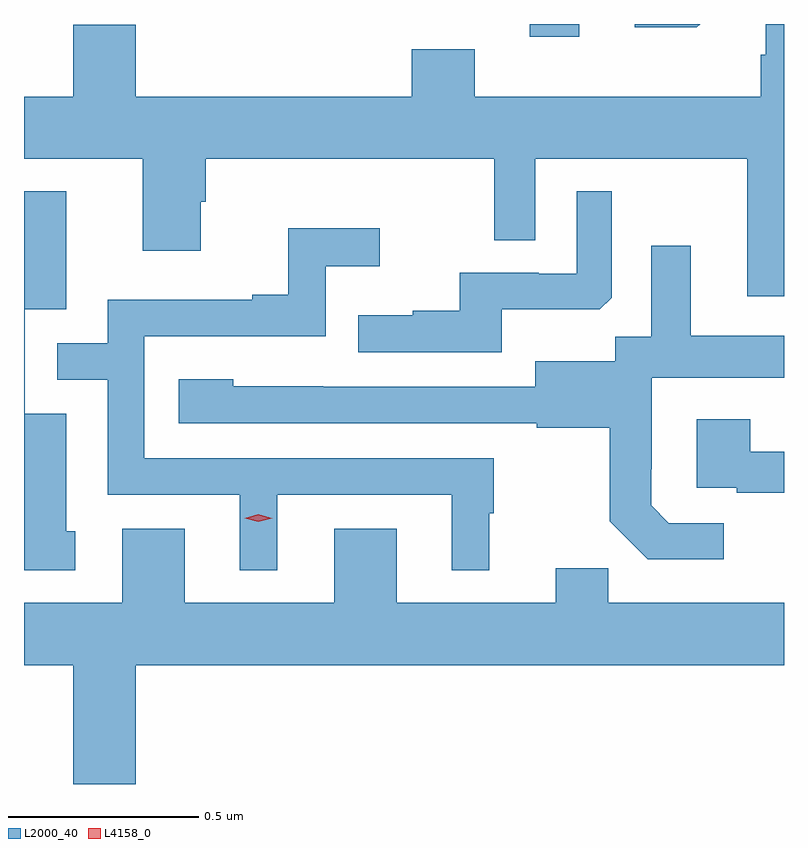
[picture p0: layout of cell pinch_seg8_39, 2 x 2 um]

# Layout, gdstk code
import gdstk
lib = gdstk.Library(unit=1e-6, precision=1e-09)
def R(c, l, rs):  # rectangles x0, y0, x1, y1
    for r in rs: c.add(gdstk.rectangle(r[:2], r[2:], *l))
def P(c, l, *ps):  # polygons
    for p in ps: c.add(gdstk.Polygon(p, *l))
L2000_40 = (2000, 40)
L4158_0 = (4158, 0)

pinch_seg8_39 = lib.new_cell('pinch_seg8_39')
R(pinch_seg8_39, L2000_40, [(921.453,1136.802,921.583,1136.835)])
P(pinch_seg8_39, L2000_40, [(921.902,1136.835),(921.729,1136.835),(921.729,1136.826),(921.893,1136.826)],
  [(922.122,1136.835),(922.074,1136.835),(922.074,1136.754),(922.061,1136.754),(922.061,1136.644),(921.308,1136.644),(921.308,1136.768),(921.143,1136.768),(921.143,1136.644),(920.416,1136.644),(920.416,1136.833),(920.252,1136.833),(920.252,1136.644),(920.122,1136.644),(920.122,1136.48),(920.435,1136.48),(920.435,1136.238),(920.587,1136.238),(920.587,1136.367),(920.6,1136.367),(920.6,1136.48),(921.36,1136.48),(921.36,1136.266),(921.468,1136.266),(921.468,1136.48),(922.025,1136.48),(922.025,1136.118),(922.122,1136.118)],
  [(920.257,1135.5),(920.233,1135.5),(920.233,1135.809),(920.124,1135.809),(920.124,1136.085),(920.233,1136.085),(920.233,1136.395),(920.122,1136.395),(920.122,1135.398),(920.257,1135.398)],
  [(921.379,1136.084),(921.637,1136.084),(921.669,1136.115),(921.669,1136.395),(921.576,1136.395),(921.576,1136.178),(921.476,1136.178),(921.476,1136.181),(921.269,1136.181),(921.269,1136.08),(921.145,1136.08),(921.145,1136.068),(921.001,1136.068),(921.001,1135.971),(921.379,1135.971)],
  [(920.788,1135.596),(921.248,1135.596),(921.248,1135.397),(921.346,1135.397),(921.346,1135.548),(921.358,1135.548),(921.358,1135.692),(920.439,1135.692),(920.439,1136.013),(920.916,1136.013),(920.916,1136.198),(921.058,1136.198),(921.058,1136.297),(920.818,1136.297),(920.818,1136.122),(920.723,1136.122),(920.723,1136.109),(920.343,1136.109),(920.343,1135.995),(920.209,1135.995),(920.209,1135.899),(920.343,1135.899),(920.343,1135.596),(920.69,1135.596),(920.69,1135.397),(920.788,1135.397)],
  [(921.964,1135.521),(921.819,1135.521),(921.772,1135.568),(921.772,1135.663),(921.774,1135.663),(921.774,1135.904),(922.122,1135.904),(922.122,1136.014),(921.877,1136.014),(921.877,1136.251),(921.773,1136.251),(921.773,1136.012),(921.678,1136.012),(921.678,1135.948),(921.467,1135.948),(921.467,1135.881),(920.909,1135.881),(920.909,1135.882),(920.673,1135.882),(920.673,1135.9),(920.529,1135.9),(920.529,1135.785),(921.471,1135.785),(921.471,1135.773),(921.663,1135.773),(921.663,1135.527),(921.763,1135.427),(921.964,1135.427)],
  [(922.122,1135.71),(922.033,1135.71),(922.033,1135.795),(921.893,1135.795),(921.893,1135.614),(921.997,1135.614),(921.997,1135.602),(922.122,1135.602)],
  [(920.416,1135.148),(922.122,1135.148),(922.122,1135.312),(921.659,1135.312),(921.659,1135.403),(921.521,1135.403),(921.521,1135.312),(921.103,1135.312),(921.103,1135.507),(920.939,1135.507),(920.939,1135.312),(920.545,1135.312),(920.545,1135.507),(920.381,1135.507),(920.381,1135.312),(920.122,1135.312),(920.122,1135.148),(920.252,1135.148),(920.252,1134.835),(920.416,1134.835)])
P(pinch_seg8_39, L4158_0, [(920.739,1135.525),(920.703,1135.534),(920.703,1135.535),(920.703,1135.535),(920.739,1135.545),(920.775,1135.535),(920.775,1135.535),(920.775,1135.534)])

lib.write_gds('pinch_seg8_39.gds')
